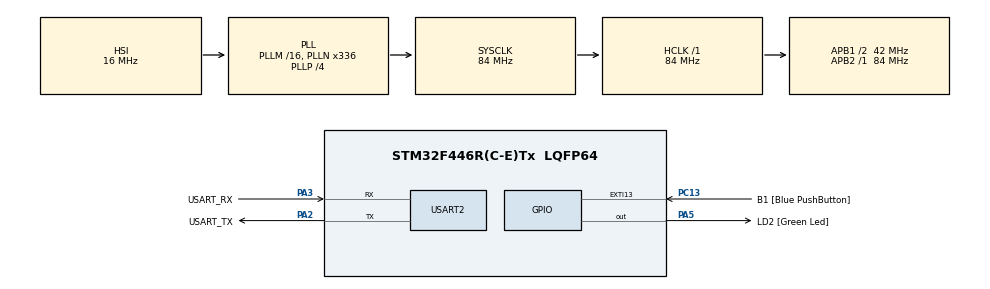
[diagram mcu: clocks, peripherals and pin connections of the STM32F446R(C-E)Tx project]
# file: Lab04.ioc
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FREERTOS.BinarySemaphores01=myBinarySem01,Dynamic,NULL,Available
FREERTOS.CountingSemaphores01=myCountingSem01,2,Dynamic,NULL,0
FREERTOS.Mutexes01=myMutex01,Dynamic,NULL,Available
FREERTOS.Queues01=myQueue01,16,uint16_t,0,Dynamic,NULL,NULL
FREERTOS.Tasks01=Task01,24,128,StartTask01,Default,NULL,Dynamic,NULL,NULL;Task02,8,128,StartTask02,Default,NULL,Dynamic,NULL,NULL
FREERTOS.configUSE_NEWLIB_REENTRANT=1
Mcu.Family=STM32F4
Mcu.Name=STM32F446R(C-E)Tx
Mcu.Package=LQFP64
NVIC.EXTI15_10_IRQn=true\:5\:0\:false\:false\:true\:true\:true\:true\:true
NVIC.PriorityGroup=NVIC_PRIORITYGROUP_4
NVIC.TIM5_IRQn=true\:15\:0\:false\:false\:true\:false\:false\:true\:true
NVIC.TimeBase=TIM5_IRQn
NVIC.TimeBaseIP=TIM5
PA13.GPIO_Label=TMS
PA13.Mode=Serial_Wire
PA13.Signal=SYS_JTMS-SWDIO
PA14.GPIO_Label=TCK
PA14.Mode=Serial_Wire
PA14.Signal=SYS_JTCK-SWCLK
PA2.GPIO_Label=USART_TX
PA2.Mode=Asynchronous
PA2.Signal=USART2_TX
PA3.GPIO_Label=USART_RX
PA3.Mode=Asynchronous
PA3.Signal=USART2_RX
PA5.GPIO_Label=LD2 [Green Led]
PA5.Signal=GPIO_Output
PB3.GPIO_Label=SWO
PB3.Signal=SYS_JTDO-SWO
PC13.GPIO_Label=B1 [Blue PushButton]
PC13.GPIO_ModeDefaultEXTI=GPIO_MODE_IT_FALLING
PC13.Signal=GPXTI13
PC14-OSC32_IN.Mode=LSE-External-Oscillator
PC14-OSC32_IN.Signal=RCC_OSC32_IN
PC15-OSC32_OUT.Mode=LSE-External-Oscillator
PC15-OSC32_OUT.Signal=RCC_OSC32_OUT
PH0-OSC_IN.Mode=HSE-External-Oscillator
PH0-OSC_IN.Signal=RCC_OSC_IN
PH1-OSC_OUT.Mode=HSE-External-Oscillator
PH1-OSC_OUT.Signal=RCC_OSC_OUT
ProjectManager.HeapSize=0x200
ProjectManager.StackSize=0x400
ProjectManager.TargetToolchain=STM32CubeIDE
RCC.48MHZClocksFreq_Value=84000000
RCC.AHBFreq_Value=84000000
RCC.APB1CLKDivider=RCC_HCLK_DIV2
RCC.APB1Freq_Value=42000000
RCC.APB1TimFreq_Value=84000000
RCC.APB2Freq_Value=84000000
RCC.APB2TimFreq_Value=84000000
RCC.CortexFreq_Value=84000000
RCC.FLatency-AdvancedSettings=FLASH_LATENCY_2
RCC.HCLKFreq_Value=84000000
RCC.HSE_VALUE=8000000
RCC.HSI_VALUE=16000000
RCC.PLLN=336
RCC.PLLP=RCC_PLLP_DIV4
RCC.SYSCLKFreq_VALUE=84000000
RCC.SYSCLKSource=RCC_SYSCLKSOURCE_PLLCLK
RCC.USBFreq_Value=168000000
RCC.VCOOutputFreq_Value=336000000
USART2.VirtualMode=VM_ASYNC
VP_FREERTOS_VS_CMSIS_V2.Mode=CMSIS_V2
VP_SYS_VS_tim5.Mode=TIM5
board=NUCLEO-F446RE

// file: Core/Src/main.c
/* USER CODE BEGIN Header */
/**
  ******************************************************************************
  * @file           : main.c
  * @brief          : Main program body
  ******************************************************************************
  * @attention
  *
  * Copyright (c) 2025 STMicroelectronics.
  * All rights reserved.
  *
  * This software is licensed under terms that can be found in the LICENSE file
  * in the root directory of this software component.
  * If no LICENSE file comes with this software, it is provided AS-IS.
  *
  ******************************************************************************
  */
/* USER CODE END Header */
#include "main.h"
#include "cmsis_os.h"

UART_HandleTypeDef huart2;

/* Definitions for Task01 */
osThreadId_t Task01Handle;
const osThreadAttr_t Task01_attributes = {
  .name = "Task01",
  .stack_size = 128 * 4,
  .priority = (osPriority_t) osPriorityNormal,
};
/* Definitions for Task02 */
osThreadId_t Task02Handle;
const osThreadAttr_t Task02_attributes = {
  .name = "Task02",
  .stack_size = 128 * 4,
  .priority = (osPriority_t) osPriorityLow,
};
/* Definitions for myQueue01 */
osMessageQueueId_t myQueue01Handle;
const osMessageQueueAttr_t myQueue01_attributes = {
  .name = "myQueue01"
};
/* Definitions for myMutex01 */
osMutexId_t myMutex01Handle;
const osMutexAttr_t myMutex01_attributes = {
  .name = "myMutex01"
};
/* Definitions for myBinarySem01 */
osSemaphoreId_t myBinarySem01Handle;
const osSemaphoreAttr_t myBinarySem01_attributes = {
  .name = "myBinarySem01"
};
/* Definitions for myCountingSem01 */
osSemaphoreId_t myCountingSem01Handle;
const osSemaphoreAttr_t myCountingSem01_attributes = {
  .name = "myCountingSem01"
};

void SystemClock_Config(void);
static void MX_GPIO_Init(void);
static void MX_USART2_UART_Init(void);
void StartTask01(void *argument);
void StartTask02(void *argument);

/* USER CODE BEGIN 0 */
float calcTemp(float abcVal)
{
	float Vsense = ((float)abcVal) * 3.3f / 4095.0f; //Vref = 3.3V

	// T = ((V25 - Vsense) / Avg_Slope) + 25
	float V25 = 0.76f; // napiecie przy 25C
	float Avg_Slope = 0.0025f; // typowo 2.5mV/C
	float temperature = ((V25 - Vsense) / Avg_Slope) + 25.0f;
	return temperature;
}
/* USER CODE END 0 */

int main(void)
{

  /* MCU Configuration--------------------------------------------------------*/

  /* Reset of all peripherals, Initializes the Flash interface and the Systick. */
  HAL_Init();

  /* Configure the system clock */
  SystemClock_Config();

  /* Initialize all configured peripherals */
  MX_GPIO_Init();
  MX_USART2_UART_Init();

  /* Init scheduler */
  osKernelInitialize();
  /* Create the mutex(es) */
  /* creation of myMutex01 */
  myMutex01Handle = osMutexNew(&myMutex01_attributes);

  /* Create the semaphores(s) */
  /* creation of myBinarySem01 */
  myBinarySem01Handle = osSemaphoreNew(1, 1, &myBinarySem01_attributes);

  /* creation of myCountingSem01 */
  myCountingSem01Handle = osSemaphoreNew(2, 0, &myCountingSem01_attributes);

  /* Create the queue(s) */
  /* creation of myQueue01 */
  myQueue01Handle = osMessageQueueNew (16, sizeof(uint16_t), &myQueue01_attributes);

  /* Create the thread(s) */
  /* creation of Task01 */
  Task01Handle = osThreadNew(StartTask01, NULL, &Task01_attributes);

  /* creation of Task02 */
  Task02Handle = osThreadNew(StartTask02, NULL, &Task02_attributes);

  /* Start scheduler */
  osKernelStart();

  /* We should never get here as control is now taken by the scheduler */

  /* Infinite loop */
  while (1)
  {

  }
}

void SystemClock_Config(void)
{
  RCC_OscInitTypeDef RCC_OscInitStruct = {0};
  RCC_ClkInitTypeDef RCC_ClkInitStruct = {0};

  /** Configure the main internal regulator output voltage
  */
  __HAL_RCC_PWR_CLK_ENABLE();
  __HAL_PWR_VOLTAGESCALING_CONFIG(PWR_REGULATOR_VOLTAGE_SCALE3);

  /** Initializes the RCC Oscillators according to the specified parameters
  * in the RCC_OscInitTypeDef structure.
  */
  RCC_OscInitStruct.OscillatorType = RCC_OSCILLATORTYPE_HSI;
  RCC_OscInitStruct.HSIState = RCC_HSI_ON;
  RCC_OscInitStruct.HSICalibrationValue = RCC_HSICALIBRATION_DEFAULT;
  RCC_OscInitStruct.PLL.PLLState = RCC_PLL_ON;
  RCC_OscInitStruct.PLL.PLLSource = RCC_PLLSOURCE_HSI;
  RCC_OscInitStruct.PLL.PLLM = 16;
  RCC_OscInitStruct.PLL.PLLN = 336;
  RCC_OscInitStruct.PLL.PLLP = RCC_PLLP_DIV4;
  RCC_OscInitStruct.PLL.PLLQ = 2;
  RCC_OscInitStruct.PLL.PLLR = 2;
  if (HAL_RCC_OscConfig(&RCC_OscInitStruct) != HAL_OK)
  {
    Error_Handler();
  }

  /** Initializes the CPU, AHB and APB buses clocks
  */
  RCC_ClkInitStruct.ClockType = RCC_CLOCKTYPE_HCLK|RCC_CLOCKTYPE_SYSCLK
                              |RCC_CLOCKTYPE_PCLK1|RCC_CLOCKTYPE_PCLK2;
  RCC_ClkInitStruct.SYSCLKSource = RCC_SYSCLKSOURCE_PLLCLK;
  RCC_ClkInitStruct.AHBCLKDivider = RCC_SYSCLK_DIV1;
  RCC_ClkInitStruct.APB1CLKDivider = RCC_HCLK_DIV2;
  RCC_ClkInitStruct.APB2CLKDivider = RCC_HCLK_DIV1;

  if (HAL_RCC_ClockConfig(&RCC_ClkInitStruct, FLASH_LATENCY_2) != HAL_OK)
  {
    Error_Handler();
  }
}

static void MX_USART2_UART_Init(void)
{

  huart2.Instance = USART2;
  huart2.Init.BaudRate = 115200;
  huart2.Init.WordLength = UART_WORDLENGTH_8B;
  huart2.Init.StopBits = UART_STOPBITS_1;
  huart2.Init.Parity = UART_PARITY_NONE;
  huart2.Init.Mode = UART_MODE_TX_RX;
  huart2.Init.HwFlowCtl = UART_HWCONTROL_NONE;
  huart2.Init.OverSampling = UART_OVERSAMPLING_16;
  if (HAL_UART_Init(&huart2) != HAL_OK)
  {
    Error_Handler();
  }

}

static void MX_GPIO_Init(void)
{
  GPIO_InitTypeDef GPIO_InitStruct = {0};

  /* GPIO Ports Clock Enable */
  __HAL_RCC_GPIOC_CLK_ENABLE();
  __HAL_RCC_GPIOH_CLK_ENABLE();
  __HAL_RCC_GPIOA_CLK_ENABLE();
  __HAL_RCC_GPIOB_CLK_ENABLE();

  /*Configure GPIO pin Output Level */
  HAL_GPIO_WritePin(LD2_GPIO_Port, LD2_Pin, GPIO_PIN_RESET);

  /*Configure GPIO pin : B1_Pin */
  GPIO_InitStruct.Pin = B1_Pin;
  GPIO_InitStruct.Mode = GPIO_MODE_IT_FALLING;
  GPIO_InitStruct.Pull = GPIO_NOPULL;
  HAL_GPIO_Init(B1_GPIO_Port, &GPIO_InitStruct);

  /*Configure GPIO pin : LD2_Pin */
  GPIO_InitStruct.Pin = LD2_Pin;
  GPIO_InitStruct.Mode = GPIO_MODE_OUTPUT_PP;
  GPIO_InitStruct.Pull = GPIO_NOPULL;
  GPIO_InitStruct.Speed = GPIO_SPEED_FREQ_LOW;
  HAL_GPIO_Init(LD2_GPIO_Port, &GPIO_InitStruct);

  /* EXTI interrupt init*/
  HAL_NVIC_SetPriority(EXTI15_10_IRQn, 5, 0);
  HAL_NVIC_EnableIRQ(EXTI15_10_IRQn);

}

void StartTask01(void *argument)
{
  /* USER CODE BEGIN 5 */
  ADC_HandleTypeDef hadc1;
  uint16_t adc_value;
  float temperature;
  /* Infinite loop */
  for(;;)
  {
	  osMutexAcquire(myMutex01Handle, osWaitForever);
	    for(int i = 0; i < 5; i++)
	    {
	      HAL_ADC_Start(&hadc1);
	      if (HAL_ADC_PollForConversion(&hadc1, 10) == HAL_OK)
	      {
	        adc_value = HAL_ADC_GetValue(&hadc1);
	        temperature = calcTemp(adc_value);

	        osMessageQueuePut(myQueue01Handle, &temperature, 0, 0);
	      }
	      osDelay(1000);
	    }
	    osMutexRelease(myMutex01Handle);
  }
  /* USER CODE END 5 */
}

void StartTask02(void *argument)
{
  /* USER CODE BEGIN StartTask02 */
	float values[5];
	float sum, average;
	uint8_t count = 0;
	char msg[50];

	/* Infinite loop */
	for(;;)
	{
	  osMutexAcquire(myMutex01Handle, osWaitForever);

	  for(int i = 0; i < 5; i++) {
	    if(osMessageQueueGet(myQueue01Handle, &values[i], NULL, 100) == osOK) {
	      count++;
	    }
	  }

	  if(count == 5) {
	    sum = 0;
	    for(int i = 0; i < 5; i++) {
	      sum += values[i];
	    }
	    average = sum / 5.0f;

	    snprintf(msg, sizeof(msg), "Average temperature: %.2f C\r\n", average);
	    HAL_UART_Transmit(&huart2, (uint8_t*)msg, strlen(msg), HAL_MAX_DELAY);
	  }

	  count = 0;
	  osMutexRelease(myMutex01Handle);
	}
  /* USER CODE END StartTask02 */
}

void HAL_TIM_PeriodElapsedCallback(TIM_HandleTypeDef *htim)
{
  if (htim->Instance == TIM5)
  {
    HAL_IncTick();
  }
}

void Error_Handler(void)
{
  __disable_irq();
  while (1)
  {
  }
}
